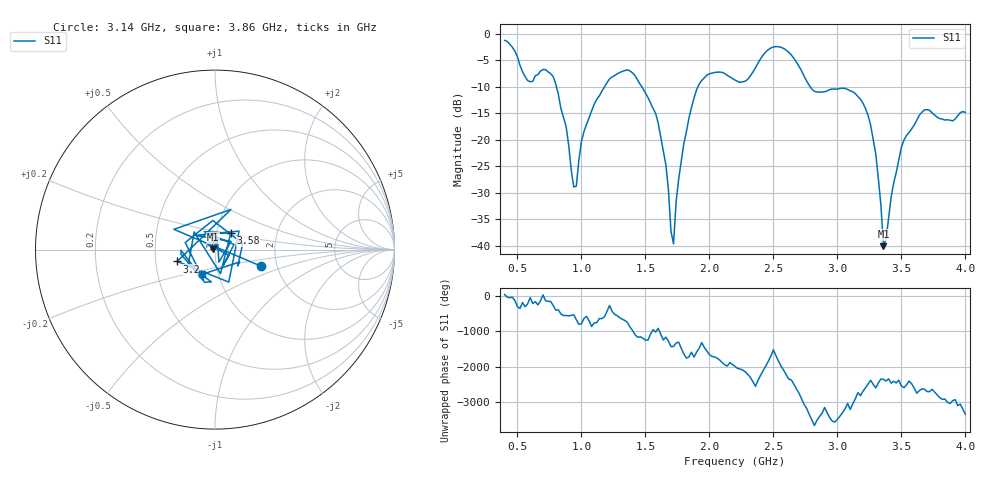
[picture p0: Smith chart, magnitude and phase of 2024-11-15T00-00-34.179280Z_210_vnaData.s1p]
!Created with skrf (http://scikit-rf.org).
# Hz S RI R 50.0
!freq ReS11 ImS11
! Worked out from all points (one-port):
!   181 points, 400 MHz to 4 GHz, reference 50 ohm
!   lowest |S11| = -40.0 dB at 3.36 GHz (marker M1), VSWR 1.02, Z = 49 + j0.146 ohm
!   |S11| at or under -10 dB: 804.9 MHz to 1.181 GHz (376.6 MHz wide, 37.9 % of centre); 1.471 GHz to 1.911 GHz (440 MHz wide, 26 % of centre); 2.787 GHz to end of sweep
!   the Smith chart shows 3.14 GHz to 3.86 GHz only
!   S11 on the Smith chart (normalised r, x): 3.14 GHz: 1.65, -0.33; 3.2 GHz: 0.65, -0.09; 3.58 GHz: 1.17, +0.22; 3.86 GHz: 0.84, -0.24
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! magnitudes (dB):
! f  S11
! 400 MHz  -1.3
! 580 MHz  -8.9
! 780 MHz  -8.2
! 860 MHz  -15.8
! 960 MHz  -28.7
! 1 GHz  -20.3
! 1.08 GHz  -14.5
! 1.3 GHz  -7.3
! 1.58 GHz  -15.0
! 1.66 GHz  -24.7
! 1.72 GHz  -39.6
! 1.76 GHz  -27.4
! 1.92 GHz  -9.5
! 2.2 GHz  -8.8
! 2.5 GHz  -2.5
! 2.66 GHz  -4.7
! 2.82 GHz  -10.9
! 3.1 GHz  -10.8
! 3.14 GHz  -11.3
! 3.2 GHz  -13.1
! 3.3 GHz  -22.7
! 3.36 GHz  -40.0
! 3.5 GHz  -21.4
! 3.56 GHz  -18.6
! 3.58 GHz  -18.0
! 3.68 GHz  -14.4
! 3.86 GHz  -16.2
! 4 GHz  -14.9
